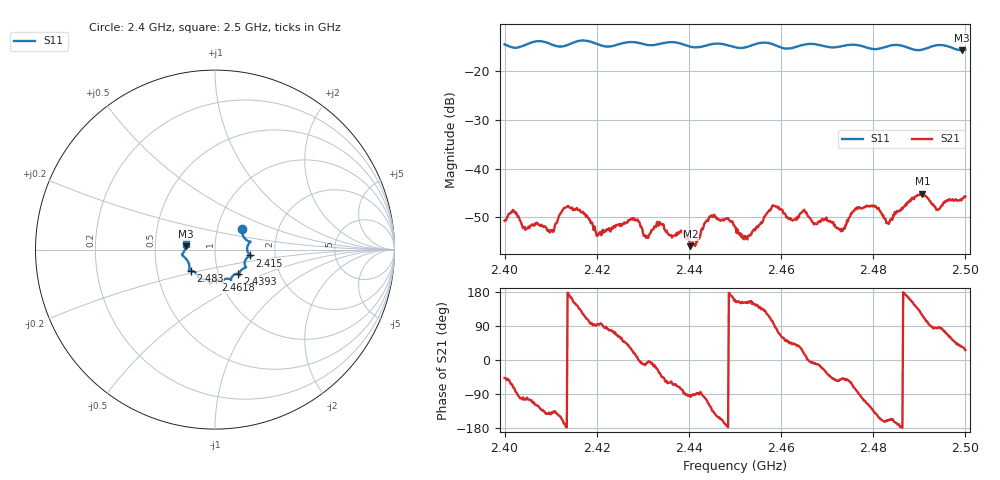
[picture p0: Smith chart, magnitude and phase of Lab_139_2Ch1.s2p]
# Hz S RI R 50
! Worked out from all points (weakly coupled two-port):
!   601 points, 2.4 GHz to 2.5 GHz, reference 50 ohm
!   highest |S21| = -45.10 dB at 2.4907 GHz (marker M1); lowest = -55.9 dB at 2.4403 GHz (marker M2)
!   lowest |S11| = -15.7 dB at 2.4992 GHz (marker M3), VSWR 1.39, Z = 35.9 + j1.34 ohm
!   |S11| at or under -10 dB: start of sweep to end of sweep
!   S12 and S22 are empty: the file has one direction only
!   S11 on the Smith chart (normalised r, x): 2.4 GHz: 1.31, +0.31; 2.415 GHz: 1.48, -0.10; 2.4393 GHz: 1.23, -0.34; 2.4618 GHz: 0.95, -0.34; 2.483 GHz: 0.74, -0.18; 2.5 GHz: 0.72, +0.05
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2.4e9  0.1505 0.1136  0.00197 -0.00217  0 0  0 0
2.410167e9  0.1859 0.0298  -0.00177 -0.00145  0 0  0 0
2.415e9  0.1944 -0.0323  -0.00336 0.00179  0 0  0 0
2.416667e9  0.203 -0.038  -0.00223 0.00277  0 0  0 0
2.4205e9  0.182 -0.0428  -0.000124 0.00219  0 0  0 0
2.433333e9  0.1364 -0.1313  0.00228 -0.00123  0 0  0 0
2.439333e9  0.1254 -0.1351  -7.33e-05 -0.00199  0 0  0 0
2.440333e9  0.1164 -0.1355  -0.000201 -0.00159  0 0  0 0
2.445e9  0.089 -0.1675  -0.00226 -0.00245  0 0  0 0
2.45e9  0.0698 -0.162  -0.00235 0.000934  0 0  0 0
2.453e9  0.0424 -0.1751  -0.0018 0.000998  0 0  0 0
2.4585e9  0.0403 -0.1826  -0.000212 0.00416  0 0  0 0
2.461833e9  0.00401 -0.1711  0.00219 0.00212  0 0  0 0
2.466667e9  -0.0263 -0.1889  0.00287 -0.000223  0 0  0 0
2.473333e9  -0.0749 -0.165  0.00152 -0.00172  0 0  0 0
2.48e9  -0.1056 -0.1318  -0.00294 -0.00299  0 0  0 0
2.483e9  -0.1356 -0.1181  -0.0026 -0.00102  0 0  0 0
2.483333e9  -0.1383 -0.1179  -0.00253 -0.000967  0 0  0 0
2.490667e9  -0.1559 -0.0583  -0.00252 0.00495  0 0  0 0
2.494e9  -0.1829 -0.0308  0.000243 0.00376  0 0  0 0
2.499167e9  -0.1634 0.0182  0.00389 0.00272  0 0  0 0
2.5e9  -0.1631 0.0332  0.00466 0.00227  0 0  0 0
